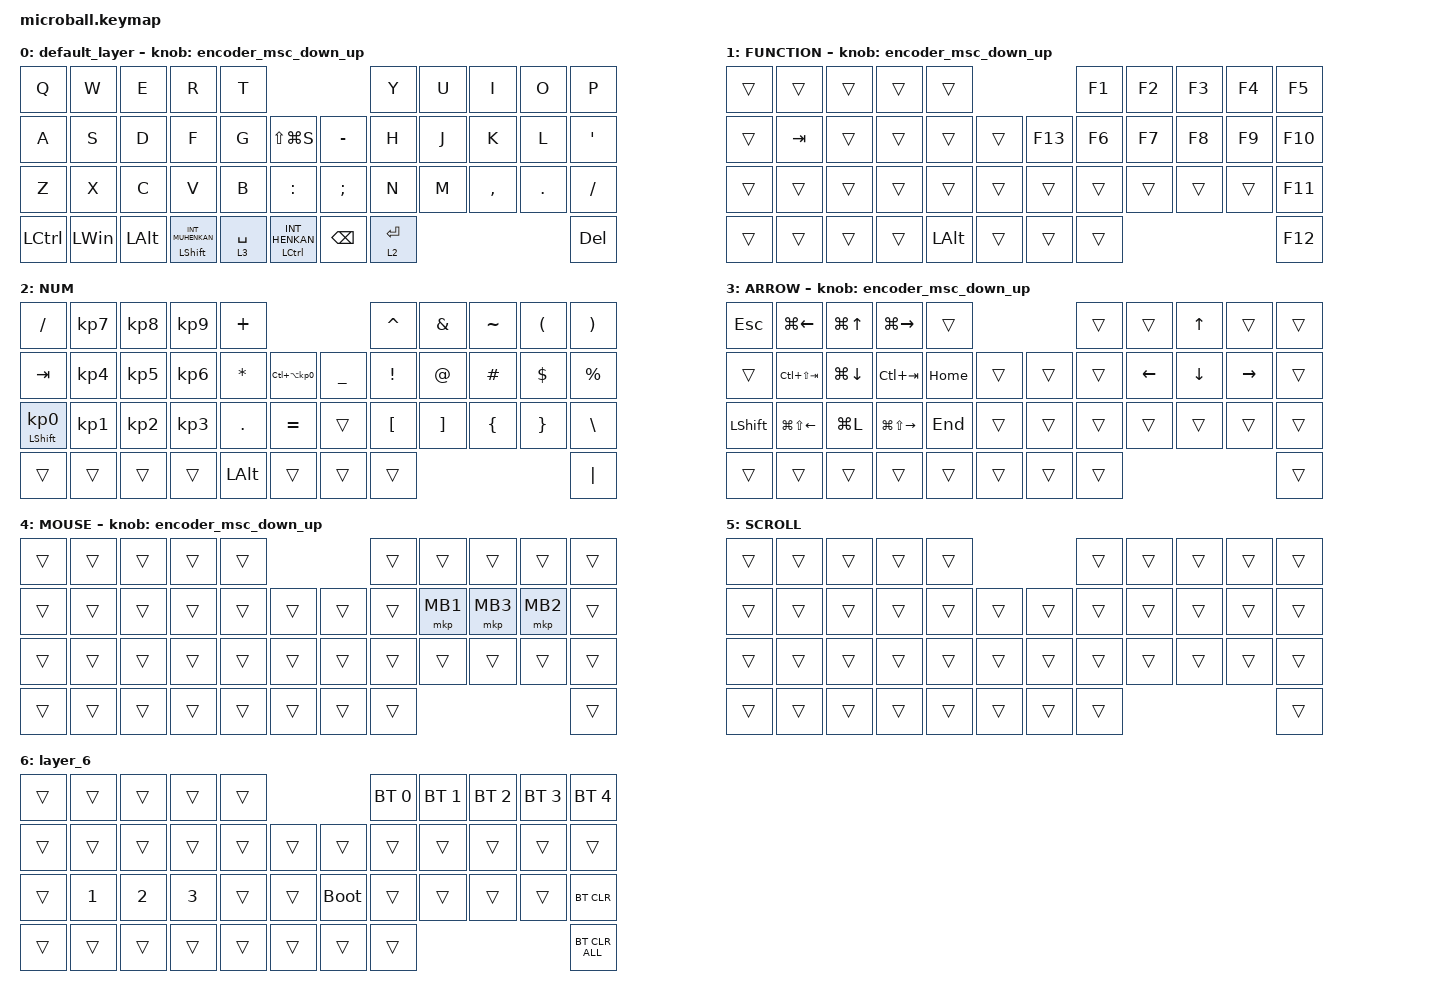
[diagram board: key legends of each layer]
#include <input/processors.dtsi>
#include <behaviors.dtsi>
#include <dt-bindings/zmk/bt.h>
#include <dt-bindings/zmk/keys.h>
#include <dt-bindings/zmk/pointing.h>

&mkp_input_listener { input-processors = <&zip_temp_layer 4 200>; };

#define ZMK_POINTING_DEFAULT_SCRL_VAL 80
#define MOUSE 4
#define SCROLL 5
#define NUM 6

&mt {
    flavor = "balanced";
    quick-tap-ms = <0>;
};

/ {
    combos {
        compatible = "zmk,combos";

        tab {
            bindings = <&kp TAB>;
            key-positions = <11 12>;
        };

        shift_tab {
            bindings = <&kp LS(TAB)>;
            key-positions = <12 13>;
        };

        muhennkann {
            bindings = <&to_layer_0 INT_MUHENKAN>;
            key-positions = <11 10>;
        };

        double_quotation {
            bindings = <&kp DOUBLE_QUOTES>;
            key-positions = <20 21>;
        };

        eq {
            bindings = <&kp EQUAL>;
            key-positions = <24 25>;
        };
    };

    macros {
        to_layer_0: to_layer_0 {
            compatible = "zmk,behavior-macro-one-param";
            #binding-cells = <1>;
            bindings = <&to 0 &macro_param_1to1 &kp MACRO_PLACEHOLDER>;
            label = "TO_LAYER_0";
        };
    };

    behaviors {
        lt_to_layer_0: lt_to_layer_0 {
            compatible = "zmk,behavior-hold-tap";
            label = "LAYER_TAP_TO_0";
            bindings = <&mo>, <&to_layer_0>;

            #binding-cells = <2>;
            tapping-term-ms = <200>;
        };
    };

    behaviors {
        encoder_msc_down_up: encoder_msc_down_up {
            compatible = "zmk,behavior-sensor-rotate";
            label = "ENCODER_MSC_DOWN_UP";
            #sensor-binding-cells = <0>;
            bindings = <&msc SCRL_DOWN>, <&msc SCRL_UP>;

            tap-ms = <20>;
        };
    };

    keymap {
        compatible = "zmk,keymap";

        default_layer {
            bindings = <
&kp Q      &kp W         &kp E         &kp R                        &kp T                                                 &kp Y        &kp U  &kp I      &kp O    &kp P
&kp A      &kp S         &kp D         &kp F                        &kp G        &kp LS(LG(S))             &kp MINUS      &kp H        &kp J  &kp K      &kp L    &kp SQT
&kp Z      &kp X         &kp C         &kp V                        &kp B        &kp COLON                 &kp SEMICOLON  &kp N        &kp M  &kp COMMA  &kp DOT  &kp SLASH
&kp LCTRL  &kp LEFT_WIN  &kp LEFT_ALT  &mt LEFT_SHIFT INT_MUHENKAN  &lt 3 SPACE  &mt LCTRL INT_HENKAN      &kp BACKSPACE  &lt 2 ENTER                             &kp DEL
            >;

            sensor-bindings = <&encoder_msc_down_up>;
        };

        FUNCTION {
            bindings = <
&trans  &trans   &trans  &trans  &trans                             &kp F1  &kp F2  &kp F3  &kp F4  &kp F5
&trans  &kp TAB  &trans  &trans  &trans        &trans      &kp F13  &kp F6  &kp F7  &kp F8  &kp F9  &kp F10
&trans  &trans   &trans  &trans  &trans        &trans      &trans   &trans  &trans  &trans  &trans  &kp F11
&trans  &trans   &trans  &trans  &kp LEFT_ALT  &trans      &trans   &trans                          &kp F12
            >;

            sensor-bindings = <&encoder_msc_down_up>;
        };

        NUM {
            bindings = <
&kp SLASH                   &kp KP_NUMBER_7  &kp KP_NUMBER_8  &kp KP_NUMBER_9  &kp PLUS                                                   &kp CARET         &kp AMPERSAND      &kp TILDE       &kp LEFT_PARENTHESIS  &kp RIGHT_PARENTHESIS
&kp TAB                     &kp KP_NUMBER_4  &kp KP_NUMBER_5  &kp KP_NUMBER_6  &kp ASTERISK  &kp LC(LA(KP_NUMBER_0))      &kp UNDERSCORE  &kp EXCLAMATION   &kp AT             &kp HASH        &kp DOLLAR            &kp PERCENT
&mt LEFT_SHIFT KP_NUMBER_0  &kp KP_NUMBER_1  &kp KP_NUMBER_2  &kp KP_NUMBER_3  &kp PERIOD    &kp EQUAL                    &trans          &kp LEFT_BRACKET  &kp RIGHT_BRACKET  &kp LEFT_BRACE  &kp RIGHT_BRACE       &kp BACKSLASH
&trans                      &trans           &trans           &trans           &kp LEFT_ALT  &trans                       &trans          &trans                                                                     &kp PIPE
            >;
        };

        ARROW {
            bindings = <
&kp ESCAPE      &kp LG(LEFT_ARROW)      &kp LG(UP_ARROW)    &kp LG(RIGHT_ARROW)      &trans                        &trans  &trans          &kp UP          &trans           &trans
&trans          &kp LC(LS(TAB))         &kp LG(DOWN_ARROW)  &kp LC(TAB)              &kp HOME  &trans      &trans  &trans  &kp LEFT_ARROW  &kp DOWN_ARROW  &kp RIGHT_ARROW  &trans
&kp LEFT_SHIFT  &kp LG(LS(LEFT_ARROW))  &kp LG(L)           &kp LG(LS(RIGHT_ARROW))  &kp END   &trans      &trans  &trans  &trans          &trans          &trans           &trans
&trans          &trans                  &trans              &trans                   &trans    &trans      &trans  &trans                                                   &trans
            >;

            sensor-bindings = <&encoder_msc_down_up>;
        };

        MOUSE {
            bindings = <
&trans  &trans  &trans  &trans  &trans                      &trans  &trans    &trans    &trans    &trans
&trans  &trans  &trans  &trans  &trans  &trans      &trans  &trans  &mkp MB1  &mkp MB3  &mkp MB2  &trans
&trans  &trans  &trans  &trans  &trans  &trans      &trans  &trans  &trans    &trans    &trans    &trans
&trans  &trans  &trans  &trans  &trans  &trans      &trans  &trans                                &trans
            >;

            sensor-bindings = <&encoder_msc_down_up>;
        };

        SCROLL {
            bindings = <
&trans  &trans  &trans  &trans  &trans                      &trans  &trans  &trans  &trans  &trans
&trans  &trans  &trans  &trans  &trans  &trans      &trans  &trans  &trans  &trans  &trans  &trans
&trans  &trans  &trans  &trans  &trans  &trans      &trans  &trans  &trans  &trans  &trans  &trans
&trans  &trans  &trans  &trans  &trans  &trans      &trans  &trans                          &trans
            >;
        };

        layer_6 {
            bindings = <
&trans  &trans        &trans        &trans        &trans                           &bt BT_SEL 0  &bt BT_SEL 1  &bt BT_SEL 2  &bt BT_SEL 3  &bt BT_SEL 4
&trans  &trans        &trans        &trans        &trans  &trans      &trans       &trans        &trans        &trans        &trans        &trans
&trans  &kp NUMBER_1  &kp NUMBER_2  &kp NUMBER_3  &trans  &trans      &bootloader  &trans        &trans        &trans        &trans        &bt BT_CLR
&trans  &trans        &trans        &trans        &trans  &trans      &trans       &trans                                                  &bt BT_CLR_ALL
            >;
        };
    };
};
